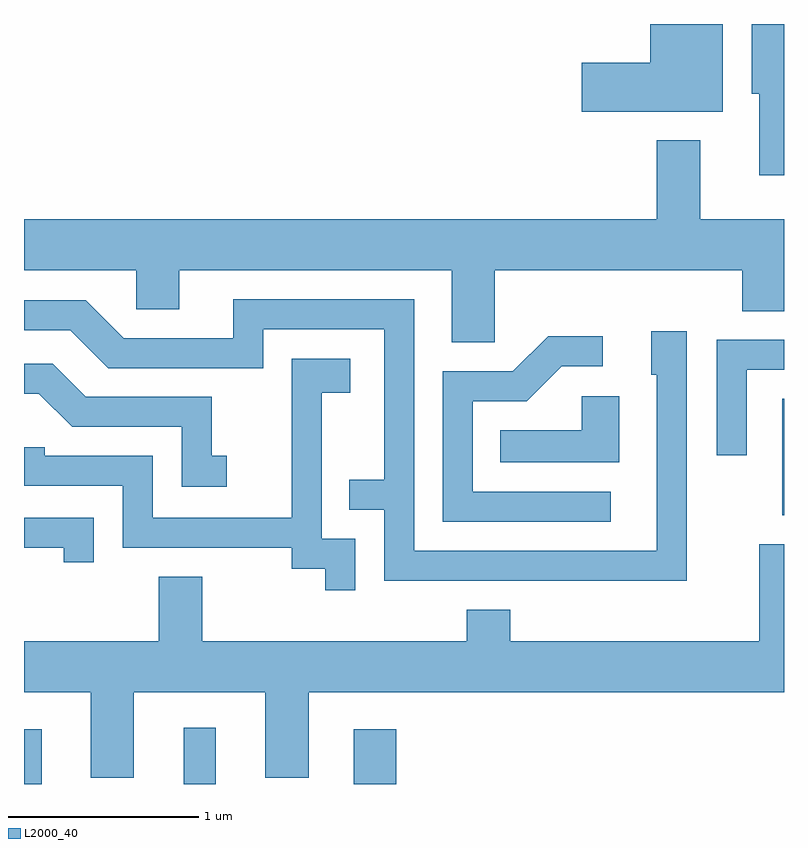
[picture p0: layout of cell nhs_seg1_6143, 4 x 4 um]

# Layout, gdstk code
import gdstk
lib = gdstk.Library(unit=1e-6, precision=1e-09)
def R(c, l, rs):  # rectangles x0, y0, x1, y1
    for r in rs: c.add(gdstk.rectangle(r[:2], r[2:], *l))
def P(c, l, *ps):  # polygons
    for p in ps: c.add(gdstk.Polygon(p, *l))
L2000_40 = (2000, 40)

nhs_seg1_6143 = lib.new_cell('nhs_seg1_6143')
R(nhs_seg1_6143, L2000_40, [(369.611,945.712,369.704,945.999), (370.451,945.712,370.619,946.008), (371.346,945.712,371.569,945.999), (373.601,947.126,373.611,947.739)])
P(nhs_seg1_6143, L2000_40, [(373.611,949.712),(373.441,949.712),(373.441,949.346),(373.481,949.346),(373.481,948.916),(373.611,948.916)],
  [(373.289,949.712),(372.906,949.712),(372.906,949.509),(372.546,949.509),(372.546,949.251),(373.289,949.251)],
  [(372.089,948.416),(373.391,948.416),(373.391,948.201),(373.611,948.201),(373.611,948.684),(373.169,948.684),(373.169,949.099),(372.941,949.099),(372.941,948.684),(369.611,948.684),(369.611,948.416),(370.201,948.416),(370.201,948.211),(370.429,948.211),(370.429,948.416),(371.861,948.416),(371.861,948.036),(372.089,948.036)],
  [(373.099,948.094),(372.911,948.094),(372.911,947.866),(372.941,947.866),(372.941,946.939),(371.664,946.939),(371.664,948.264),(370.711,948.264),(370.711,948.059),(370.137,948.059),(369.937,948.259),(369.611,948.259),(369.611,948.101),(369.854,948.101),(370.054,947.901),(370.869,947.901),(370.869,948.106),(371.506,948.106),(371.506,947.314),(371.323,947.314),(371.323,947.156),(371.506,947.156),(371.506,946.781),(373.099,946.781)],
  [(372.698,947.249),(371.974,947.249),(371.974,947.726),(372.257,947.726),(372.442,947.911),(372.658,947.911),(372.658,948.069),(372.369,948.069),(372.184,947.884),(371.816,947.884),(371.816,947.091),(372.698,947.091)],
  [(373.414,947.891),(373.611,947.891),(373.611,948.049),(373.256,948.049),(373.256,947.443),(373.414,947.443)],
  [(371.354,947.004),(371.179,947.004),(371.179,947.771),(371.329,947.771),(371.329,947.949),(371.021,947.949),(371.021,947.114),(370.289,947.114),(370.289,947.439),(369.719,947.439),(369.719,947.484),(369.611,947.484),(369.611,947.281),(370.131,947.281),(370.131,946.956),(371.021,946.956),(371.021,946.846),(371.196,946.846),(371.196,946.733),(371.354,946.733)],
  [(370.678,947.439),(370.599,947.439),(370.599,947.749),(369.937,947.749),(369.762,947.924),(369.611,947.924),(369.611,947.766),(369.689,947.766),(369.864,947.591),(370.441,947.591),(370.441,947.276),(370.678,947.276)],
  [(372.744,947.754),(372.546,947.754),(372.546,947.574),(372.118,947.574),(372.118,947.406),(372.744,947.406)],
  [(369.979,947.114),(369.611,947.114),(369.611,946.956),(369.821,946.956),(369.821,946.878),(369.979,946.878)],
  [(370.189,946.196),(370.881,946.196),(370.881,945.746),(371.109,945.746),(371.109,946.196),(373.611,946.196),(373.611,946.974),(373.481,946.974),(373.481,946.464),(372.169,946.464),(372.169,946.629),(371.941,946.629),(371.941,946.464),(370.549,946.464),(370.549,946.804),(370.321,946.804),(370.321,946.464),(369.611,946.464),(369.611,946.196),(369.961,946.196),(369.961,945.746),(370.189,945.746)])

lib.write_gds('nhs_seg1_6143.gds')
